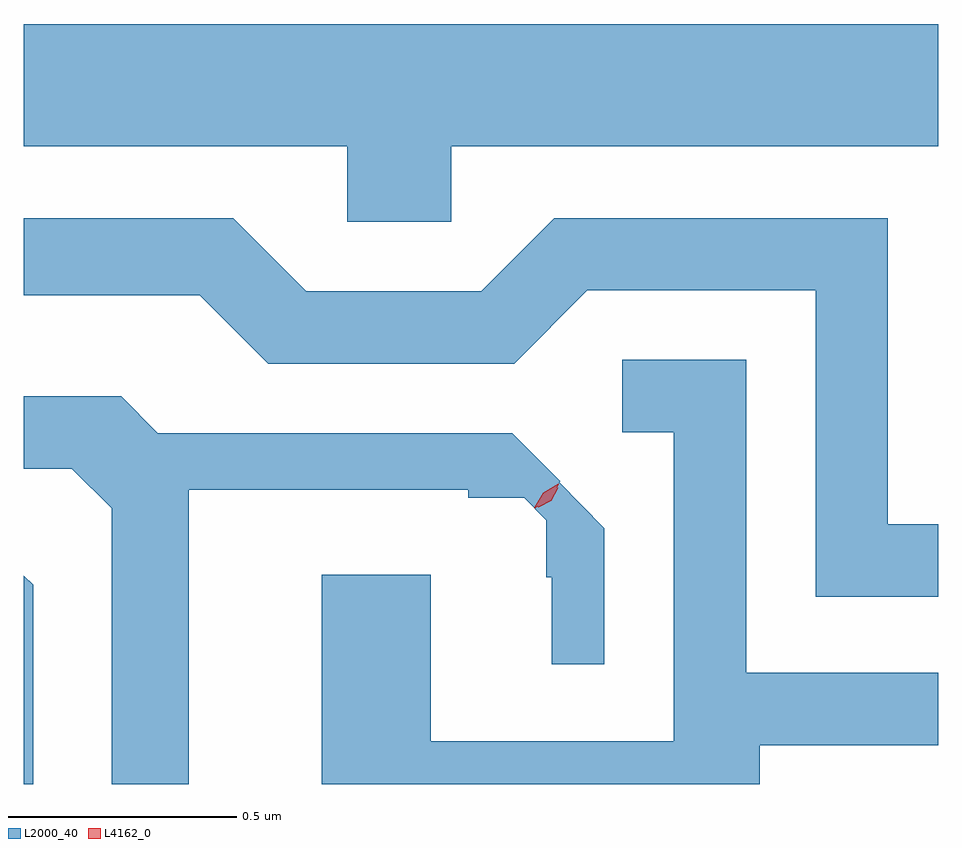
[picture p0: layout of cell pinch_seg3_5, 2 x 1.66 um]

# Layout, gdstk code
import gdstk
lib = gdstk.Library(unit=1e-6, precision=1e-09)
def P(c, l, *ps):  # polygons
    for p in ps: c.add(gdstk.Polygon(p, *l))
L2000_40 = (2000, 40)
L4162_0 = (4162, 0)

pinch_seg3_5 = lib.new_cell('pinch_seg3_5')
P(pinch_seg3_5, L2000_40, [(849.514,1243.676),(850.579,1243.676),(850.579,1243.944),(848.579,1243.944),(848.579,1243.676),(849.286,1243.676),(849.286,1243.511),(849.514,1243.511)],
  [(850.579,1242.849),(850.469,1242.849),(850.469,1243.519),(849.739,1243.519),(849.579,1243.359),(849.197,1243.359),(849.037,1243.519),(848.579,1243.519),(848.579,1243.351),(848.964,1243.351),(849.114,1243.201),(849.652,1243.201),(849.812,1243.361),(850.311,1243.361),(850.311,1242.691),(850.579,1242.691)],
  [(850.189,1242.366),(850.579,1242.366),(850.579,1242.524),(850.159,1242.524),(850.159,1243.209),(849.888,1243.209),(849.888,1243.051),(850.001,1243.051),(850.001,1242.374),(849.469,1242.374),(849.469,1242.739),(849.231,1242.739),(849.231,1242.281),(850.189,1242.281)],
  [(848.939,1242.925),(849.551,1242.925),(849.551,1242.907),(849.674,1242.907),(849.722,1242.858),(849.722,1242.733),(849.734,1242.733),(849.734,1242.543),(849.849,1242.543),(849.849,1242.841),(849.75,1242.941),(849.752,1242.943),(849.647,1243.049),(848.872,1243.049),(848.792,1243.129),(848.579,1243.129),(848.579,1242.971),(848.684,1242.971),(848.771,1242.884),(848.771,1242.281),(848.939,1242.281)],
  [(848.599,1242.717),(848.579,1242.737),(848.579,1242.281),(848.599,1242.281)])
P(pinch_seg3_5, L4162_0, [(849.696,1242.884),(849.696,1242.885),(849.715,1242.918),(849.748,1242.938),(849.749,1242.938),(849.749,1242.937),(849.73,1242.904),(849.697,1242.884)],
  [(849.704,1242.887),(849.704,1242.888),(849.719,1242.915),(849.747,1242.929),(849.748,1242.929),(849.748,1242.929),(849.733,1242.901),(849.705,1242.887)])

lib.write_gds('pinch_seg3_5.gds')
